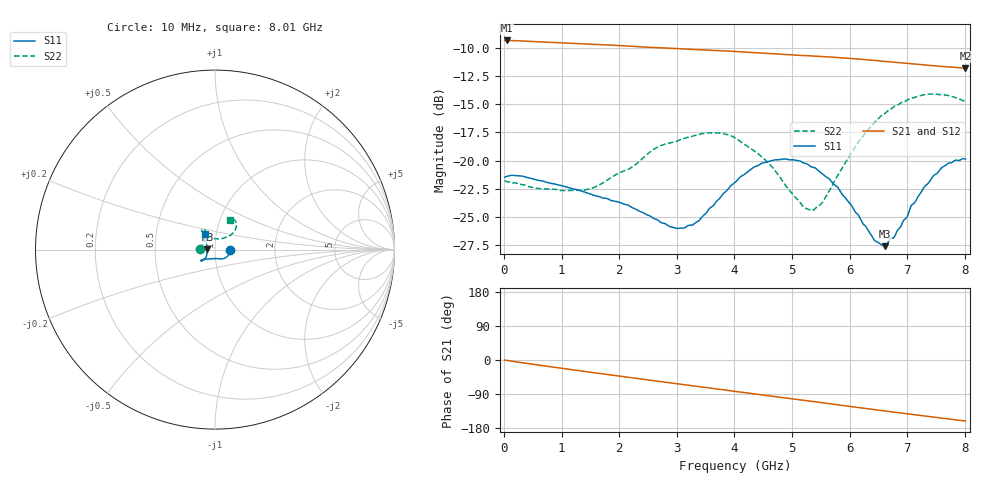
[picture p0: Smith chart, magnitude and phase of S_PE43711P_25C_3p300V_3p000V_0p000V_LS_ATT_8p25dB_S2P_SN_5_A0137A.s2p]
! Device ID: PE43711P
! File Path: z:\PE43711P\CHAR_NOM_04282014\AMB\3p300\LS_ATT_8p25dB\PE43711P_AMB_3p300V_3p000V_0p000V_LS_ATT_8p25dB_S2P_SN_5_A0137A.s2p
! Serial: 5
! Lot: A0137A
! Temp: 25C
! VDD: 3.300
! VSS: 0.000
! Control_Hi: 3.000
! Control_Lo: 0.000
! Attenuation Step: 8.25dB
! Port 1: RF1
! Port 2: RF2
! ThroughPath:1-2
! IDD: 0.0001273304
! ISS: -5.98e-008
#  Hz  S  RI  R  50
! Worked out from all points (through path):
!   801 points, 10 MHz to 8.01 GHz, reference 50 ohm
!   highest |S21| = -9.37 dB at 50 MHz (marker M1); lowest = -11.8 dB at 8.01 GHz (marker M2)
!   group delay of S21, straight-line fit = 55.6 ps
!   lowest |S11| = -27.6 dB at 6.61 GHz (marker M3), VSWR 1.09, Z = 46 + j0.0565 ohm
!   |S11| at or under -10 dB: start of sweep to end of sweep
!   |S22| runs from -24.4 to -14.1 dB; largest |S21 - S12| = 0.00064
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1e7  0.0844 -0.000191  0.3401 -0.00161  0.3403 -0.0017  -0.0816 0.000665
5e7  0.0851 -0.00176  0.34 -0.00712  0.3402 -0.00709  -0.0807 0.00222
1.35e9  0.0562 -0.047  0.2874 -0.1603  0.2876 -0.1605  -0.0648 0.0352
2.18e9  0.0345 -0.0527  0.2219 -0.2319  0.2221 -0.232  -0.0528 0.0756
2.68e9  0.0187 -0.051  0.1756 -0.2625  0.1757 -0.2626  -0.0524 0.1028
2.99e9  0.00388 -0.05  0.1451 -0.2777  0.1452 -0.2778  -0.0554 0.1081
3.28e9  -0.0124 -0.0505  0.1151 -0.288  0.1153 -0.2883  -0.0599 0.1136
3.68e9  -0.0392 -0.0526  0.0736 -0.298  0.0735 -0.2981  -0.0697 0.1129
4.01e9  -0.0591 -0.054  0.0382 -0.3016  0.0381 -0.3018  -0.0742 0.1018
4.34e9  -0.0741 -0.0571  0.00346 -0.3005  0.00343 -0.3007  -0.0656 0.089
4.68e9  -0.0798 -0.0608  -0.0316 -0.2951  -0.0316 -0.2952  -0.0505 0.0769
5.19e9  -0.075 -0.0629  -0.0809 -0.2804  -0.081 -0.2804  -0.0101 0.0619
5.35e9  -0.0714 -0.0605  -0.0958 -0.274  -0.0959 -0.2743  0.00677 0.0596
5.53e9  -0.0653 -0.0578  -0.1121 -0.2659  -0.1121 -0.266  0.0264 0.0599
5.78e9  -0.0571 -0.0513  -0.1338 -0.2527  -0.1339 -0.2527  0.0536 0.0659
6.42e9  -0.0425 -0.0141  -0.1812 -0.2103  -0.1815 -0.2105  0.1071 0.0999
6.61e9  -0.0418 0.000614  -0.1924 -0.1962  -0.1925 -0.1965  0.114 0.1146
6.68e9  -0.0435 0.00749  -0.1963 -0.1911  -0.1964 -0.1912  0.1162 0.1203
7.05e9  -0.0484 0.0379  -0.2144 -0.1617  -0.2142 -0.1619  0.1186 0.1456
7.45e9  -0.0552 0.0651  -0.229 -0.1292  -0.2292 -0.1293  0.1061 0.1657
7.7e9  -0.0585 0.077  -0.236 -0.1088  -0.2359 -0.1086  0.0936 0.1704
8.01e9  -0.0562 0.0846  -0.2426 -0.0834  -0.2428 -0.0828  0.0808 0.1631
